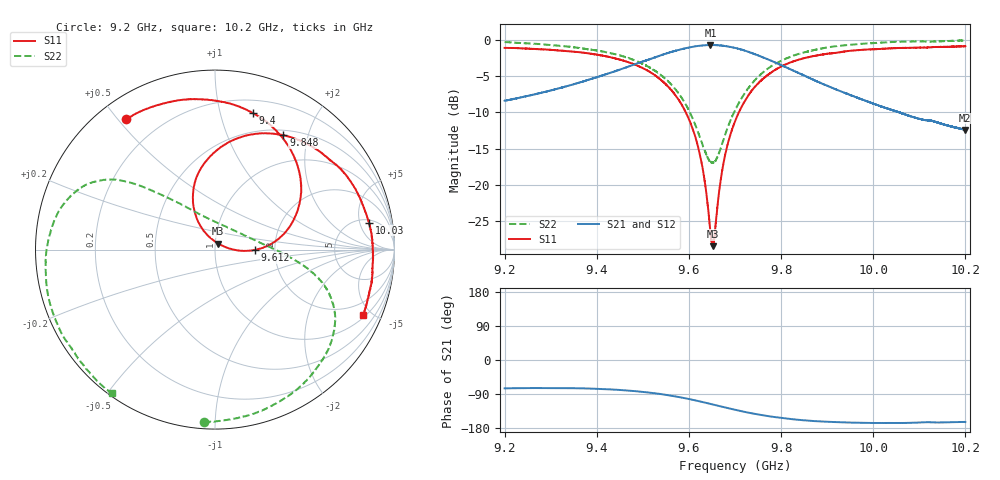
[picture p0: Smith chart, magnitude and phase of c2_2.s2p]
!Agilent Technologies,N5242A,MY51221714,A.09.90.19
!Agilent N5242A: A.09.90.19
!Date: Saturday, December 30, 2023 09:58:54
!Correction: S11(Full 2 Port(1,2))
!S21(Full 2 Port(1,2))
!S12(Full 2 Port(1,2))
!S22(Full 2 Port(1,2))
!S2P File: Measurements: S11, S21, S12, S22:
# Hz S  dB  R 50
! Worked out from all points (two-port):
!   16001 points, 9.2 GHz to 10.2 GHz, reference 50 ohm
!   highest |S21| = -0.73 dB at 9.647 GHz (marker M1); lowest = -12.4 dB at 10.2 GHz (marker M2)
!   |S21| within 3 dB of the highest: 9.468 GHz to 9.808 GHz (340.4 MHz wide, 3.53 % of centre)
!   lowest |S11| = -28.5 dB at 9.652 GHz (marker M3), VSWR 1.08, Z = 51.7 + j3.45 ohm
!   |S11| at or under -10 dB: 9.593 GHz to 9.708 GHz (115.4 MHz wide, 1.2 % of centre)
!   |S22| runs from -17.0 to -0.1 dB; largest |S21 - S12| = 0.011
!   S11 on the Smith chart (normalised r, x): 9.2 GHz: 0.08, +0.53; 9.4 GHz: 0.31, +1.27; 9.612 GHz: 1.57, -0.00; 9.848 GHz: 0.57, +1.61; 10.03 GHz: 5.62, +7.00; 10.2 GHz: 1.14, -4.46
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9.2e9  -1.13 124.3  -8.42 -74.8  -8.41 -75.4  -0.33 -93.5
9.277875e9  -1.32 106.1  -7.35 -73.9  -7.34 -74.4  -0.62 -72.6
9.366688e9  -1.76 83.7  -5.84 -74.7  -5.82 -75.4  -1.19 -49.9
9.399688e9  -2.05 74.4  -5.18 -76.0  -5.16 -76.6  -1.49 -41.9
9.475375e9  -3.26 50.9  -3.55 -81.3  -3.54 -81.8  -2.67 -25.7
9.533375e9  -5.24 30.0  -2.28 -88.9  -2.27 -89.5  -4.59 -15.1
9.579938e9  -8.49 11.3  -1.37 -98.1  -1.36 -98.7  -7.61 -5.6
9.61225e9  -13.09 -0.4  -0.92 -106.2  -0.92 -106.7  -11.53 7.1
9.631312e9  -18.33 -1.7  -0.77 -111.5  -0.77 -111.9  -14.80 25.6
9.64675e9  -26.48 26.8  -0.73 -115.9  -0.73 -116.4  -16.80 55.6
9.651812e9  -28.46 61.9  -0.75 -117.4  -0.73 -117.9  -16.97 67.5
9.675062e9  -17.02 121.2  -0.85 -124.2  -0.84 -124.7  -13.79 111.1
9.7e9  -11.28 116.0  -1.13 -131.3  -1.12 -131.8  -9.74 127.6
9.775938e9  -4.63 84.9  -2.83 -148.8  -2.83 -149.4  -3.78 143.6
9.847562e9  -2.59 59.1  -4.86 -158.9  -4.86 -159.5  -1.80 154.2
9.866688e9  -2.30 53.0  -5.41 -160.8  -5.41 -161.3  -1.49 157.5
9.95e9  -1.53 30.1  -7.62 -165.1  -7.62 -165.6  -0.71 174.1
1.003338e10  -1.21 10.2  -9.55 -166.1  -9.54 -166.8  -0.35 -167.2
1.003444e10  -1.20 10.0  -9.56 -166.1  -9.56 -166.7  -0.34 -166.9
1.010644e10  -1.10 -5.2  -11.02 -164.6  -11.01 -165.2  -0.23 -149.5
1.019969e10  -0.89 -23.7  -12.44 -163.5  -12.43 -164.1  -0.12 -125.7
1.02e10  -0.90 -23.8  -12.43 -163.5  -12.43 -164.1  -0.12 -125.7
